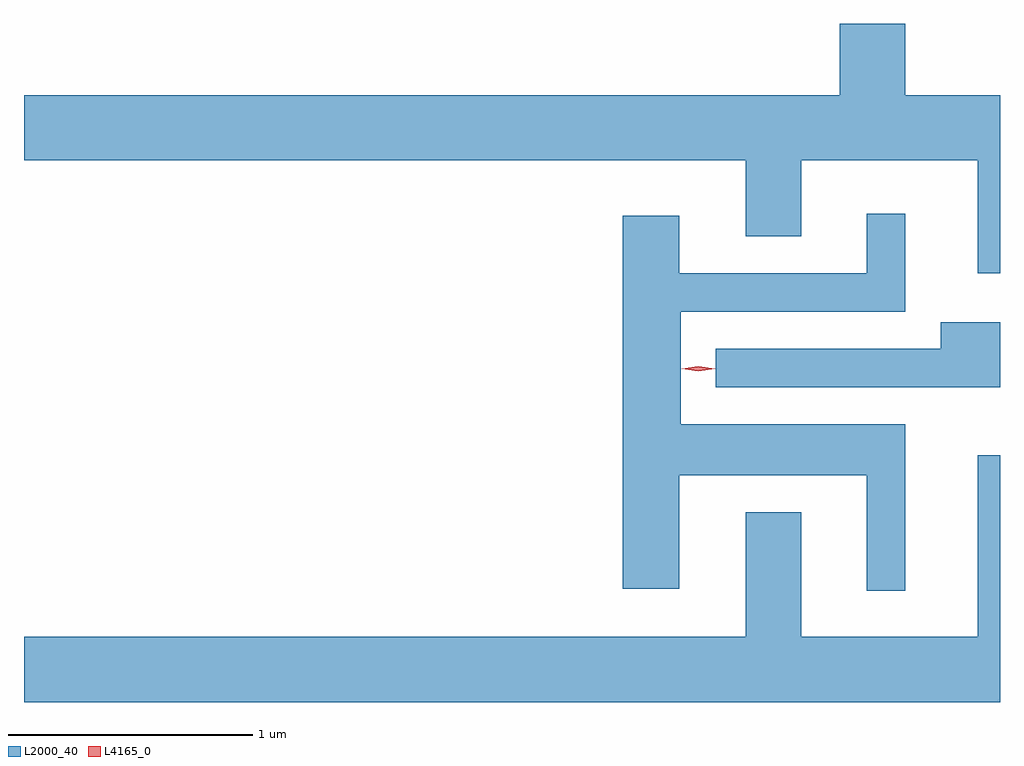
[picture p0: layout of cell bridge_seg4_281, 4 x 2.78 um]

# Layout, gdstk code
import gdstk
lib = gdstk.Library(unit=1e-6, precision=1e-09)
def P(c, l, *ps):  # polygons
    for p in ps: c.add(gdstk.Polygon(p, *l))
L2000_40 = (2000, 40)
L4165_0 = (4165, 0)

bridge_seg4_281 = lib.new_cell('bridge_seg4_281')
P(bridge_seg4_281, L2000_40, [(573.893,1330.524),(573.504,1330.524),(573.504,1330.816),(573.236,1330.816),(573.236,1330.524),(569.893,1330.524),(569.893,1330.256),(572.851,1330.256),(572.851,1329.946),(573.079,1329.946),(573.079,1330.256),(573.801,1330.256),(573.801,1329.793),(573.893,1329.793)],
  [(573.504,1329.174),(572.584,1329.174),(572.584,1329.636),(573.504,1329.636),(573.504,1330.038),(573.346,1330.038),(573.346,1329.794),(572.579,1329.794),(572.579,1330.029),(572.346,1330.029),(572.346,1328.501),(572.579,1328.501),(572.579,1328.966),(573.346,1328.966),(573.346,1328.493),(573.504,1328.493)],
  [(573.893,1329.594),(573.651,1329.594),(573.651,1329.484),(572.728,1329.484),(572.728,1329.326),(573.893,1329.326)],
  [(573.893,1329.048),(573.801,1329.048),(573.801,1328.304),(573.079,1328.304),(573.079,1328.814),(572.851,1328.814),(572.851,1328.304),(569.893,1328.304),(569.893,1328.036),(573.893,1328.036)])
P(bridge_seg4_281, L4165_0, [(572.657,1329.393),(572.591,1329.402),(572.59,1329.403),(572.591,1329.403),(572.657,1329.413),(572.722,1329.403),(572.723,1329.403),(572.722,1329.402)],
  [(572.657,1329.393),(572.588,1329.402),(572.587,1329.403),(572.588,1329.403),(572.657,1329.413),(572.726,1329.403),(572.726,1329.403),(572.726,1329.402)])

lib.write_gds('bridge_seg4_281.gds')
